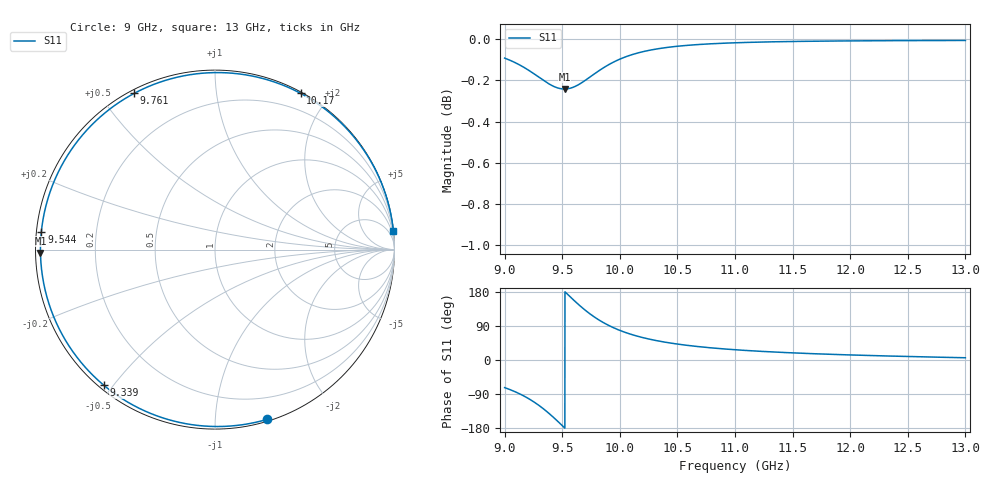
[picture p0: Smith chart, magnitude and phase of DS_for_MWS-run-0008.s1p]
! TOUCHSTONE file generated by CST DESIGN STUDIO
! Date and time: Tue Feb  4 12:31:12 2025
! Project name: C:\Work\MatlabApps\UnitCellOptimizationMatlab\CST\unitcell.cst
! Tree item: Tasks\Sweep1\SPara1\S-Parameters
! Header version: 2024
! Port assignment regex: !\s*Touchstone port\s*([0-9]+)\s*=\s*(CST MWS port|CST DES external port|CST DES block port)\s*(.+)\s* \(\"(.*)\"\)(\s*mode\s*([0-9]+))?.*
! Touchstone port assignment:
! Touchstone port 1 = CST DES external port 1 ("")
# GHz S MA R 50
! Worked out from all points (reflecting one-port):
!   4001 points, 9 GHz to 13 GHz, reference 50 ohm
!   lowest |S11| = -0.2 dB at 9.52 GHz (marker M1), VSWR 71.87, Z = 0.696 - j0.489 ohm
!   phase of S11 starts at -73 deg and turns -281 deg over the sweep
!   S11 on the Smith chart (normalised r, x): 9 GHz: 0.01, -1.35; 9.339 GHz: 0.01, -0.47; 9.544 GHz: 0.01, +0.05; 9.761 GHz: 0.01, +0.61; 10.17 GHz: 0.01, +1.69; 13 GHz: 0, +19
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9  0.9895 -72.9
9.093  0.987 -84.0
9.198  0.9833 -100.1
9.272  0.9801 -114.3
9.339  0.9772 -129.3
9.383  0.9754 -140.3
9.428  0.9739 -152.4
9.465  0.9731 -162.9
9.5  0.9726 -173.0
9.52  0.9726 -178.9
9.544  0.9727 174.1
9.598  0.9736 158.5
9.658  0.9755 142.0
9.709  0.9777 129.2
9.761  0.98 117.3
9.811  0.9822 107.1
9.866  0.9845 97.2
10  0.989 78.2
10.082  0.991 69.2
10.171  0.9926 61.3
10.321  0.9946 51.0
10.5  0.9961 42.0
10.722  0.9972 34.1
11  0.9981 27.1
11.5  0.9988 18.8
12  0.9991 13.3
12.5  0.9993 9.3
13  0.9994 5.9
